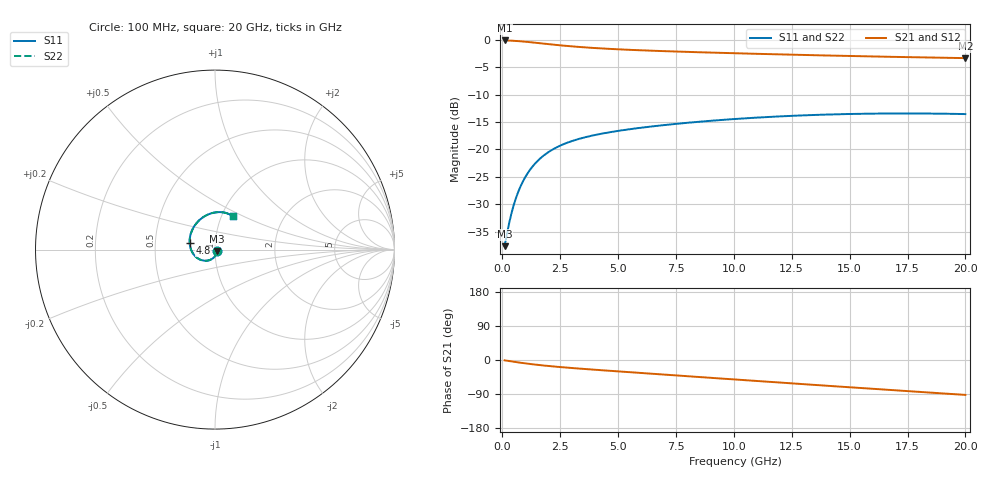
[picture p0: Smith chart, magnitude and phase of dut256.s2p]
! Created with skrf 1.9.0 (http://scikit-rf.org).
# GHz S RI R 50.0
!freq ReS11 ImS11 ReS21 ImS21 ReS12 ImS12 ReS22 ImS22
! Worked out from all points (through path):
!   200 points, 100 MHz to 20 GHz, reference 50 ohm
!   highest |S21| = -0.10 dB at 100 MHz (marker M1); lowest = -3.3 dB at 20 GHz (marker M2)
!   group delay of S21, straight-line fit = 12 ps
!   lowest |S11| = -37.7 dB at 100 MHz (marker M3), VSWR 1.03, Z = 51.1 - j0.707 ohm
!   |S11| at or under -10 dB: start of sweep to end of sweep
!   |S22| runs from -37.7 to -13.4 dB; largest |S21 - S12| = 2.5e-15
!   S11 on the Smith chart (normalised r, x): 100 MHz: 1.02, -0.01; 4.8 GHz: 0.75, +0.05; 20 GHz: 1.13, +0.44
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0.1  0.0111 -0.00691  0.9881 -0.0159  0.9881 -0.0159  0.0111 -0.00691
0.2  0.0104 -0.0133  0.9865 -0.0322  0.9865 -0.0322  0.0104 -0.0133
0.3  0.00892 -0.0195  0.9842 -0.0484  0.9842 -0.0484  0.00892 -0.0195
0.4  0.00666 -0.0254  0.9812 -0.0643  0.9812 -0.0643  0.00666 -0.0254
0.5  0.00375 -0.0311  0.9775 -0.0797  0.9775 -0.0797  0.00375 -0.0311
0.6  0.000248 -0.0364  0.9732 -0.0947  0.9732 -0.0947  0.000248 -0.0364
0.7  -0.00378 -0.0413  0.9682 -0.1093  0.9682 -0.1093  -0.00378 -0.0413
0.9  -0.0131 -0.0497  0.957 -0.1368  0.957 -0.1368  -0.0131 -0.0497
1.2  -0.0293 -0.0583  0.9373 -0.1738  0.9373 -0.1738  -0.0293 -0.0583
1.4  -0.0408 -0.0613  0.9231 -0.1957  0.9231 -0.1957  -0.0408 -0.0613
1.6  -0.0523 -0.0623  0.9085 -0.2156  0.9085 -0.2156  -0.0523 -0.0623
2.1  -0.079 -0.0575  0.8725 -0.2576  0.8725 -0.2576  -0.079 -0.0575
2.7  -0.1046 -0.0422  0.8324 -0.2976  0.8324 -0.2976  -0.1046 -0.0422
3.5  -0.1271 -0.0142  0.7854 -0.3412  0.7854 -0.3412  -0.1271 -0.0142
4.8  -0.1411 0.0349  0.7197 -0.4019  0.7197 -0.4019  -0.1411 0.0349
6.8  -0.1304 0.1013  0.6265 -0.4841  0.6265 -0.4841  -0.1304 0.1013
8.4  -0.1069 0.1425  0.551 -0.5411  0.551 -0.5411  -0.1069 0.1425
10.1  -0.0745 0.1746  0.4681 -0.5918  0.4681 -0.5918  -0.0745 0.1746
11.7  -0.0412 0.1945  0.388 -0.6297  0.388 -0.6297  -0.0412 0.1945
13.4  -0.00573 0.206  0.3017 -0.6595  0.3017 -0.6595  -0.00573 0.206
16.7  0.0553 0.2055  0.1352 -0.6879  0.1352 -0.6879  0.0553 0.2055
20  0.0987 0.1855  -0.0252 -0.6813  -0.0252 -0.6813  0.0987 0.1855
